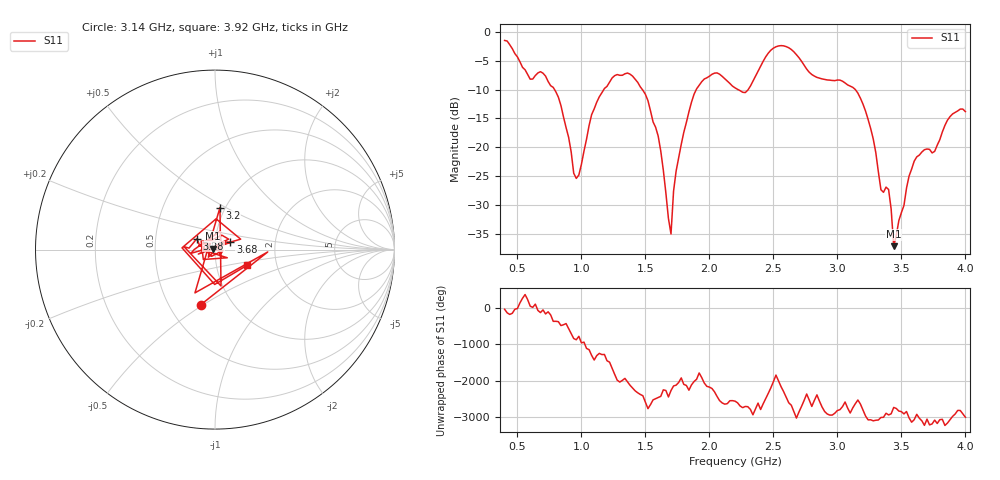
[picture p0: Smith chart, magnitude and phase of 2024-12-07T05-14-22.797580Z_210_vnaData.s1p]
!Created with skrf (http://scikit-rf.org).
# Hz S RI R 50.0
!freq ReS11 ImS11
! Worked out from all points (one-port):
!   181 points, 400 MHz to 4 GHz, reference 50 ohm
!   lowest |S11| = -37.2 dB at 3.44 GHz (marker M1), VSWR 1.03, Z = 48.8 + j0.595 ohm
!   |S11| at or under -10 dB: 789.9 MHz to 1.175 GHz (385.2 MHz wide, 39.2 % of centre); 1.476 GHz to 1.898 GHz (421.6 MHz wide, 25 % of centre); 3.14 GHz to end of sweep (the widest 3 of 4)
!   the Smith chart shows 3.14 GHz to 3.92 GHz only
!   S11 on the Smith chart (normalised r, x): 3.14 GHz: 0.72, -0.49; 3.2 GHz: 0.94, +0.47; 3.28 GHz: 0.81, +0.10; 3.68 GHz: 1.18, +0.10; 3.92 GHz: 1.41, -0.26
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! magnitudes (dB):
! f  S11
! 400 MHz  -1.5
! 600 MHz  -8.2
! 720 MHz  -7.7
! 860 MHz  -14.8
! 960 MHz  -25.4
! 1.12 GHz  -12.2
! 1.3 GHz  -7.5
! 1.52 GHz  -11.9
! 1.6 GHz  -18.1
! 1.7 GHz  -35.1
! 1.72 GHz  -27.6
! 1.76 GHz  -21.9
! 1.94 GHz  -8.6
! 2.2 GHz  -9.7
! 2.3 GHz  -10.1
! 2.5 GHz  -2.8
! 2.66 GHz  -3.5
! 3.1 GHz  -9.4
! 3.14 GHz  -10.0
! 3.2 GHz  -12.5
! 3.28 GHz  -18.6
! 3.34 GHz  -27.4
! 3.4 GHz  -27.4
! 3.44 GHz  -37.2
! 3.56 GHz  -25.0
! 3.68 GHz  -20.4
! 3.92 GHz  -14.0
! 4 GHz  -13.8
